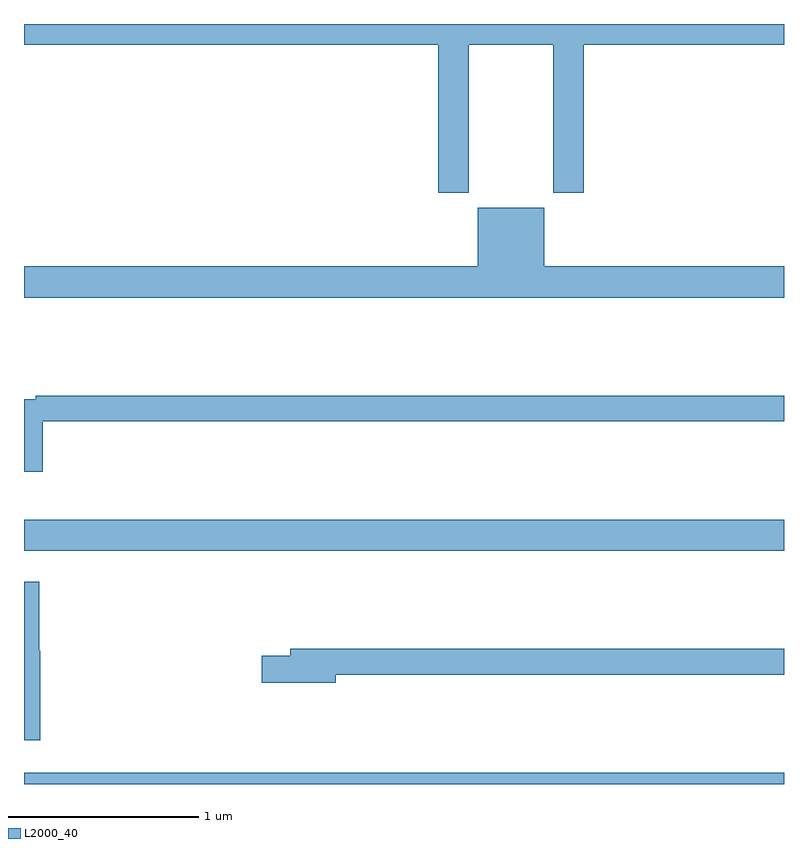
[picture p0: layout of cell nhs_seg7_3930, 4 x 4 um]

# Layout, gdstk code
import gdstk
lib = gdstk.Library(unit=1e-6, precision=1e-09)
def R(c, l, rs):  # rectangles x0, y0, x1, y1
    for r in rs: c.add(gdstk.rectangle(r[:2], r[2:], *l))
def P(c, l, *ps):  # polygons
    for p in ps: c.add(gdstk.Polygon(p, *l))
L2000_40 = (2000, 40)

nhs_seg7_3930 = lib.new_cell('nhs_seg7_3930')
R(nhs_seg7_3930, L2000_40, [(359,1054,363,1054.06), (359,1055.228,363,1055.392)])
P(nhs_seg7_3930, L2000_40, [(361.341,1057.892),(361.786,1057.892),(361.786,1057.113),(361.946,1057.113),(361.946,1057.892),(363,1057.892),(363,1058),(359,1058),(359,1057.892),(361.181,1057.892),(361.181,1057.113),(361.341,1057.113)],
  [(363,1056.724),(361.738,1056.724),(361.738,1057.033),(361.388,1057.033),(361.388,1056.724),(359,1056.724),(359,1056.56),(363,1056.56)],
  [(359.099,1055.908),(363,1055.908),(363,1056.044),(359.062,1056.044),(359.062,1056.024),(359,1056.024),(359,1055.643),(359.099,1055.643)],
  [(359.086,1054.701),(359.081,1054.701),(359.081,1055.065),(359,1055.065),(359,1054.23),(359.086,1054.23)],
  [(360.64,1054.576),(363,1054.576),(363,1054.712),(360.401,1054.712),(360.401,1054.676),(360.252,1054.676),(360.252,1054.534),(360.64,1054.534)])

lib.write_gds('nhs_seg7_3930.gds')
